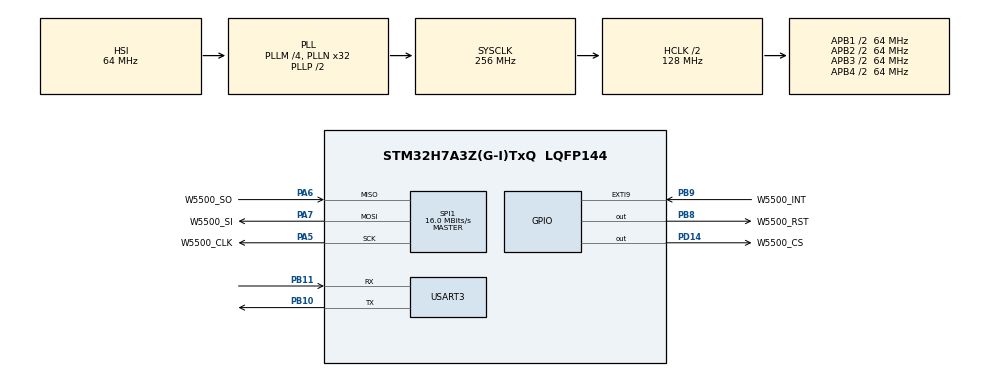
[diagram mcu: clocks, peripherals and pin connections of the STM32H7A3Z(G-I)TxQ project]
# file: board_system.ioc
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CORTEX_M7.CPU_DCache=Enabled
CORTEX_M7.CPU_ICache=Enabled
Mcu.Family=STM32H7
Mcu.Name=STM32H7A3Z(G-I)TxQ
Mcu.Package=LQFP144
NVIC.EXTI9_5_IRQn=true\:0\:0\:false\:false\:true\:true\:true\:true
NVIC.PriorityGroup=NVIC_PRIORITYGROUP_4
PA5.GPIO_Label=W5500_CLK
PA5.Mode=Full_Duplex_Master
PA5.Signal=SPI1_SCK
PA6.GPIO_Label=W5500_SO
PA6.Mode=Full_Duplex_Master
PA6.Signal=SPI1_MISO
PA7.GPIO_Label=W5500_SI
PA7.Mode=Full_Duplex_Master
PA7.Signal=SPI1_MOSI
PB10.Mode=Asynchronous
PB10.Signal=USART3_TX
PB11.Mode=Asynchronous
PB11.Signal=USART3_RX
PB8.GPIO_Label=W5500_RST
PB8.PinState=GPIO_PIN_RESET
PB8.Signal=GPIO_Output
PB9.GPIO_Label=W5500_INT
PB9.Signal=GPXTI9
PD14.GPIO_Label=W5500_CS
PD14.PinState=GPIO_PIN_SET
PD14.Signal=GPIO_Output
ProjectManager.HeapSize=0x200
ProjectManager.StackSize=0x400
ProjectManager.TargetToolchain=STM32CubeIDE
RCC.ADCFreq_Value=129000000
RCC.APB1Freq_Value=64000000
RCC.APB2Freq_Value=64000000
RCC.APB3Freq_Value=64000000
RCC.APB4Freq_Value=64000000
RCC.CDPPRE=RCC_APB3_DIV2
RCC.CDPPRE1=RCC_APB1_DIV2
RCC.CDPPRE2=RCC_APB2_DIV2
RCC.CortexFreq_Value=256000000
RCC.DIVM1=4
RCC.DIVN1=32
RCC.HCLKFreq_Value=128000000
RCC.HPRE=RCC_HCLK_DIV2
RCC.SRDPPRE=RCC_APB4_DIV2
RCC.SYSCLKFreq_VALUE=256000000
RCC.SYSCLKSource=RCC_SYSCLKSOURCE_PLLCLK
RCC.USBFreq_Value=256000000
SPI1.BaudRatePrescaler=SPI_BAUDRATEPRESCALER_16
SPI1.CalculateBaudRate=16.0 MBits/s
SPI1.DataSize=SPI_DATASIZE_8BIT
SPI1.Direction=SPI_DIRECTION_2LINES
SPI1.Mode=SPI_MODE_MASTER
SPI1.VirtualType=VM_MASTER
USART3.VirtualMode-Asynchronous=VM_ASYNC
VP_TIM7_VS_ClockSourceINT.Mode=Enable_Timer
board=custom

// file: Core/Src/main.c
/* USER CODE BEGIN Header */
/**
  ******************************************************************************
  * @file           : main.c
  * @brief          : Main program body
  ******************************************************************************
  * @attention
  *
  * Copyright (c) 2023 STMicroelectronics.
  * All rights reserved.
  *
  * This software is licensed under terms that can be found in the LICENSE file
  * in the root directory of this software component.
  * If no LICENSE file comes with this software, it is provided AS-IS.
  *
  ******************************************************************************
  */
/* USER CODE END Header */
#include "main.h"
#include "spi.h"
#include "tim.h"
#include "usart.h"
#include "gpio.h"

/* USER CODE BEGIN Includes */
#include <stdio.h>
#include <string.h>
#include "./Ethernet/socket.h"
#include "./Ethernet/w5500.h"
#include "./Ethernet/wizchip_conf.h"
/* USER CODE END Includes */

void SystemClock_Config(void);

/* USER CODE BEGIN 0 */
static void w5500_hard_rst(void)
{
	HAL_GPIO_WritePin(W5500_RST_GPIO_Port, W5500_RST_Pin, GPIO_PIN_RESET);
	HAL_Delay(50);
	HAL_GPIO_WritePin(W5500_RST_GPIO_Port, W5500_RST_Pin, GPIO_PIN_SET);
	HAL_Delay(10);
}

static int w5500_chip_init(void)
{
	uint8_t rx_tx_buff_sizes[] = {2, 2, 2, 2, 2, 2, 2, 2};
	return wizchip_init(rx_tx_buff_sizes, rx_tx_buff_sizes);
}

static void w5500_phy_init(void)
{
    wiz_PhyConf conf;

    conf.by = PHY_CONFBY_SW;
    conf.mode = PHY_MODE_MANUAL;
    conf.speed = PHY_SPEED_10;
    conf.duplex = PHY_DUPLEX_FULL;
    wizphy_setphyconf(&conf);
}

static void w5500_network_init(void)
{
    wiz_NetInfo info;

    uint8_t mac[6] = {0x00,0x08,0xdc,0x78,0x00,0x02};
    uint8_t ip[4] = {192,168,1,199};
    uint8_t sn[4] = {255,255,255,0};
    uint8_t gw[4] = {192,168,1,1};
    uint8_t dns[4] = {0,0,0,0};

    memcpy(info.mac, mac, 6);
    memcpy(info.ip, ip, 4);
    memcpy(info.sn, sn, 4);
    memcpy(info.gw, gw, 4);
    memcpy(info.dns, dns, 4);

    info.dhcp = NETINFO_STATIC;

    wizchip_setnetinfo(&info);
}

void w5500_init(void)
{
	w5500_hard_rst();//硬件复位W5500
	w5500_regFunc();//绑定SPI函数
	if(w5500_chip_init()!=0)//芯片初始�??????
	{
		while(1);
	}
	w5500_phy_init();//物理层初始化
	w5500_network_init();//网络初始�??????

    wiz_NetInfo info;

    wizchip_getnetinfo(&info);//信息回读
}

void uart_printf(char * msg)
{
	HAL_UART_Transmit(&huart3, (uint8_t *)msg, strlen(msg), HAL_MAX_DELAY);
}

uint8_t rxBuf[20]={0};
uint8_t rxBuf1[20]={0};
uint8_t rxBuf2[20]={0};
/* USER CODE END 0 */

int main(void)
{

  /* Enable I-Cache---------------------------------------------------------*/
  SCB_EnableICache();

  /* Enable D-Cache---------------------------------------------------------*/
  SCB_EnableDCache();

  /* MCU Configuration--------------------------------------------------------*/

  /* Reset of all peripherals, Initializes the Flash interface and the Systick. */
  HAL_Init();

  /* Configure the system clock */
  SystemClock_Config();

  /* Initialize all configured peripherals */
  MX_GPIO_Init();
  MX_SPI1_Init();
  MX_TIM7_Init();
  MX_USART3_UART_Init();
  /* USER CODE BEGIN 2 */
  w5500_init();
  uart_printf("init finished");
	uint8_t remote_ip[4]={192,168,1,101};
	uint16_t remote_port=6000;
	uint16_t local_port=5000;

	uint16_t len=0;

	uint8_t buffff[]="Tx Via UDP0";
	  socket(0, Sn_MR_UDP, local_port, 0);//设置Socket0
	  sendto(0, buffff, sizeof(buffff), remote_ip, remote_port);//Socket0发�??
  /* USER CODE END 2 */

  /* Infinite loop */
  /* USER CODE BEGIN WHILE */
  while (1)
  {
	  sendto(0, buffff, sizeof(buffff), remote_ip, remote_port);//Socket0发�??
	  HAL_Delay(500);
	  switch(getSn_SR(0))
	  {
		  case SOCK_UDP:
		  {

				if(getSn_IR(0) & Sn_IR_RECV)
				{
					setSn_IR(0, Sn_IR_RECV);
				}
				if((len=getSn_RX_RSR(0))>0)//收到了UDP数据
				{
					memset(rxBuf,0,sizeof(rxBuf));
					len = recvfrom(0,rxBuf, len, remote_ip,&remote_port);//数据回收
					if(remote_port==6000)//如果来自6000
					{
						memset(rxBuf1,0,sizeof(rxBuf1));
						memcpy(rxBuf1,rxBuf,len);
						uart_printf((char *)rxBuf1);
					}
				}
		  }
	  }
    /* USER CODE END WHILE */

  }
}

void SystemClock_Config(void)
{
  RCC_OscInitTypeDef RCC_OscInitStruct = {0};
  RCC_ClkInitTypeDef RCC_ClkInitStruct = {0};

  /*AXI clock gating */
  RCC->CKGAENR = 0xFFFFFFFF;

  /** Supply configuration update enable
  */
  HAL_PWREx_ConfigSupply(PWR_DIRECT_SMPS_SUPPLY);

  /** Configure the main internal regulator output voltage
  */
  __HAL_PWR_VOLTAGESCALING_CONFIG(PWR_REGULATOR_VOLTAGE_SCALE0);

  while(!__HAL_PWR_GET_FLAG(PWR_FLAG_VOSRDY)) {}

  /** Initializes the RCC Oscillators according to the specified parameters
  * in the RCC_OscInitTypeDef structure.
  */
  RCC_OscInitStruct.OscillatorType = RCC_OSCILLATORTYPE_HSI;
  RCC_OscInitStruct.HSIState = RCC_HSI_DIV1;
  RCC_OscInitStruct.HSICalibrationValue = 64;
  RCC_OscInitStruct.PLL.PLLState = RCC_PLL_ON;
  RCC_OscInitStruct.PLL.PLLSource = RCC_PLLSOURCE_HSI;
  RCC_OscInitStruct.PLL.PLLM = 4;
  RCC_OscInitStruct.PLL.PLLN = 32;
  RCC_OscInitStruct.PLL.PLLP = 2;
  RCC_OscInitStruct.PLL.PLLQ = 2;
  RCC_OscInitStruct.PLL.PLLR = 2;
  RCC_OscInitStruct.PLL.PLLRGE = RCC_PLL1VCIRANGE_3;
  RCC_OscInitStruct.PLL.PLLVCOSEL = RCC_PLL1VCOWIDE;
  RCC_OscInitStruct.PLL.PLLFRACN = 0;
  if (HAL_RCC_OscConfig(&RCC_OscInitStruct) != HAL_OK)
  {
    Error_Handler();
  }

  /** Initializes the CPU, AHB and APB buses clocks
  */
  RCC_ClkInitStruct.ClockType = RCC_CLOCKTYPE_HCLK|RCC_CLOCKTYPE_SYSCLK
                              |RCC_CLOCKTYPE_PCLK1|RCC_CLOCKTYPE_PCLK2
                              |RCC_CLOCKTYPE_D3PCLK1|RCC_CLOCKTYPE_D1PCLK1;
  RCC_ClkInitStruct.SYSCLKSource = RCC_SYSCLKSOURCE_PLLCLK;
  RCC_ClkInitStruct.SYSCLKDivider = RCC_SYSCLK_DIV1;
  RCC_ClkInitStruct.AHBCLKDivider = RCC_HCLK_DIV2;
  RCC_ClkInitStruct.APB3CLKDivider = RCC_APB3_DIV2;
  RCC_ClkInitStruct.APB1CLKDivider = RCC_APB1_DIV2;
  RCC_ClkInitStruct.APB2CLKDivider = RCC_APB2_DIV2;
  RCC_ClkInitStruct.APB4CLKDivider = RCC_APB4_DIV2;

  if (HAL_RCC_ClockConfig(&RCC_ClkInitStruct, FLASH_LATENCY_3) != HAL_OK)
  {
    Error_Handler();
  }
}

void Error_Handler(void)
{
  __disable_irq();
  while (1)
  {
  }
}
